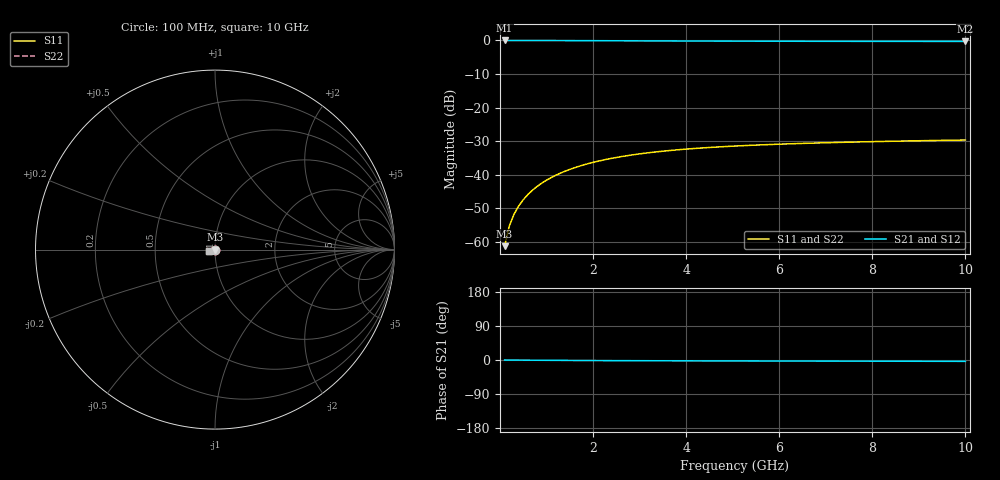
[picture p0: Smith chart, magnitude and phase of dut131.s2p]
! Touchstone file exported from HFSS 2024.1.0
!  File:  C:/UserFiles/LocalFiles/RDL_TSV_Batchsim/temp_TSV1_131_1779379626.aedt
!  Generated:  12:11:28 AM May 22, 2026
!  Design:  TSV1
!  Project:  temp_TSV1_131_1779379626
!  Setup:  Setup1
!  Solution:  Sweep
! Variables:
!  dtsv = 9.77um
!  hbump = 3um
!  htsv = 53.54um
!  lrdl = 252.1521522um
!  p = 40
!  p1 = 42.29um
!  t = 500um
!  trdl = 3um
!  wrdl = 24.89489489um
# GHz S MA R 50.000000
! Terminal data exported
! Port[1] = TSV22_T1
! Port[2] = TSV22_T2
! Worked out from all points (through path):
!   100 points, 100 MHz to 10 GHz, reference 50 ohm
!   highest |S21| = 0.00 dB at 100 MHz (marker M1); lowest = -0.3 dB at 10 GHz (marker M2)
!   lowest |S11| = -61.3 dB at 100 MHz (marker M3), VSWR 1.00, Z = 50 - j0.0855 ohm
!   |S11| at or under -10 dB: start of sweep to end of sweep
!   |S22| runs from -61.3 to -29.7 dB; largest |S21 - S12| = 6.1e-15
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0.1  0.0008606 -83.4  0.9998 -0.1  0.9998 -0.1  0.0008606 -83.4
! Gamma 0 0 0 0
! Port Impedance 50 0 50 0
0.2  0.001706 -89.1  0.9998 -0.2  0.9998 -0.2  0.001706 -89.1
0.3  0.002552 -92.1  0.9996 -0.3  0.9996 -0.3  0.002552 -92.1
0.4  0.003395 -94.4  0.9995 -0.3  0.9995 -0.3  0.003395 -94.4
0.5  0.004231 -96.5  0.9992 -0.4  0.9992 -0.4  0.004231 -96.5
0.6  0.005061 -98.3  0.999 -0.5  0.999 -0.5  0.005061 -98.3
0.7  0.005882 -100.1  0.9986 -0.6  0.9986 -0.6  0.005882 -100.1
0.8  0.006692 -101.8  0.9983 -0.7  0.9983 -0.7  0.006692 -101.8
0.9  0.007491 -103.5  0.9979 -0.7  0.9979 -0.7  0.007491 -103.5
1.1  0.00905 -106.7  0.997 -0.9  0.997 -0.9  0.00905 -106.7
1.4  0.01127 -111.2  0.9955 -1.1  0.9955 -1.1  0.01127 -111.2
1.6  0.01267 -114.1  0.9944 -1.2  0.9944 -1.2  0.01267 -114.1
1.8  0.014 -116.8  0.9932 -1.3  0.9932 -1.3  0.014 -116.8
2.1  0.01584 -120.7  0.9914 -1.5  0.9914 -1.5  0.01584 -120.7
2.5  0.01805 -125.6  0.9891 -1.7  0.9891 -1.7  0.01805 -125.6
2.9  0.01997 -130.0  0.9867 -1.8  0.9867 -1.8  0.01997 -130.0
3.4  0.02202 -135.0  0.984 -2.0  0.984 -2.0  0.02202 -135.0
4.2  0.02462 -141.9  0.9802 -2.3  0.9802 -2.3  0.02462 -141.9
5.1  0.02681 -148.3  0.9766 -2.5  0.9766 -2.5  0.02681 -148.3
6.7  0.02951 -157.4  0.9719 -2.9  0.9719 -2.9  0.02951 -157.4
8.4  0.03146 -164.9  0.9686 -3.2  0.9686 -3.2  0.03146 -164.9
10  0.03287 -170.9  0.9663 -3.6  0.9663 -3.6  0.03287 -170.9
